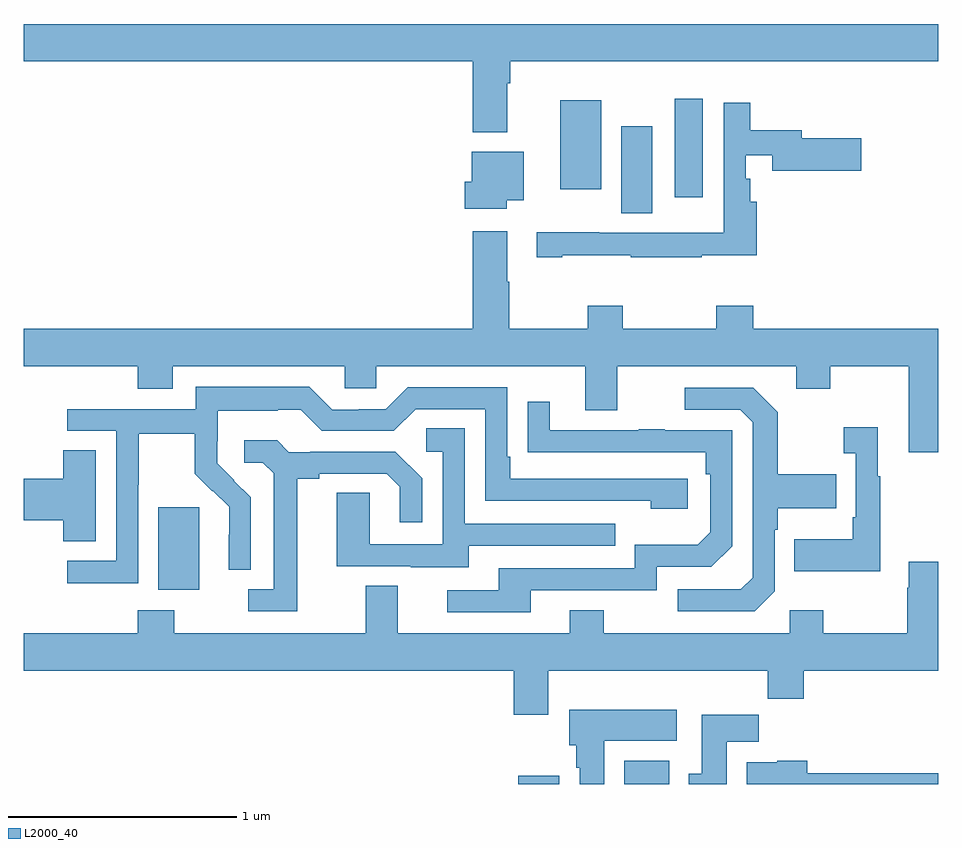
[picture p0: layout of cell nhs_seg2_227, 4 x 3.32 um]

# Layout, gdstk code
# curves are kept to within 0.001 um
import gdstk
lib = gdstk.Library(unit=1e-6, precision=1e-09)
def R(c, l, rs):  # rectangles x0, y0, x1, y1
    for r in rs: c.add(gdstk.rectangle(r[:2], r[2:], *l))
def P(c, l, *ps):  # polygons
    for p in ps: c.add(gdstk.Polygon(p, *l))
L2000_40 = (2000, 40)

nhs_seg2_227 = lib.new_cell('nhs_seg2_227')
R(nhs_seg2_227, L2000_40, [(123.164,653.8,123.343,653.836), (123.626,653.8,123.823,653.902), (121.589,654.65,121.768,655.011), (123.614,656.296,123.748,656.677), (123.848,656.367,123.97,656.797), (123.347,656.402,123.526,656.791)])
P(nhs_seg2_227, L2000_40, [(123.115,656.864),(123.128,656.864),(123.128,656.96),(125,656.96),(125,657.124),(121,657.124),(121,656.96),(122.963,656.96),(122.963,656.651),(123.115,656.651)],
  [(123.355,656.113),(123.655,656.113),(123.655,656.103),(123.965,656.103),(123.965,656.113),(124.205,656.113),(124.205,656.347),(124.178,656.347),(124.178,656.448),(124.158,656.448),(124.158,656.549),(124.274,656.549),(124.274,656.483),(124.663,656.483),(124.663,656.625),(124.402,656.625),(124.402,656.659),(124.178,656.659),(124.178,656.779),(124.062,656.779),(124.062,656.212),(123.852,656.212),(123.852,656.211),(123.518,656.211),(123.518,656.213),(123.243,656.213),(123.243,656.103),(123.355,656.103)],
  [(123.113,656.354),(123.187,656.354),(123.187,656.566),(122.96,656.566),(122.96,656.433),(122.93,656.433),(122.93,656.315),(123.113,656.315)],
  [(125,655.792),(124.19,655.792),(124.19,655.891),(124.03,655.891),(124.03,655.792),(123.621,655.792),(123.621,655.891),(123.466,655.891),(123.466,655.792),(123.123,655.792),(123.123,655.997),(123.115,655.997),(123.115,656.218),(122.963,656.218),(122.963,655.792),(121,655.792),(121,655.628),(121.499,655.628),(121.499,655.529),(121.651,655.529),(121.651,655.628),(122.403,655.628),(122.403,655.53),(122.541,655.53),(122.541,655.628),(123.455,655.628),(123.455,655.434),(123.595,655.434),(123.595,655.628),(124.379,655.628),(124.379,655.529),(124.527,655.529),(124.527,655.628),(124.871,655.628),(124.871,655.251),(125,655.251)],
  [(121.5,655.108),(121.503,655.108),(121.503,655.332),(121.747,655.332),(121.747,655.157),(121.824,655.08),(121.827,655.083),(121.898,655.013),(121.898,654.89),(121.896,654.89),(121.896,654.736),(121.992,654.736),(121.992,655.054),(121.846,655.202),(121.846,655.299),(121.848,655.299),(121.848,655.433),(122.111,655.433),(122.111,655.437),(122.211,655.437),(122.304,655.344),(122.619,655.344),(122.715,655.44),(123.018,655.44),(123.018,655.038),(123.743,655.038),(123.743,655.004),(123.904,655.004),(123.904,655.134),(123.127,655.134),(123.127,655.231),(123.114,655.231),(123.114,655.536),(122.679,655.536),(122.583,655.44),(122.465,655.44),(122.465,655.437),(122.349,655.437),(122.249,655.537),(121.752,655.537),(121.752,655.44),(121.191,655.44),(121.191,655.344),(121.404,655.344),(121.404,654.777),(121.191,654.777),(121.191,654.679),(121.5,654.679)],
  [(124.284,654.642),(124.284,654.911),(124.297,654.911),(124.297,655.007),(124.553,655.007),(124.553,655.155),(124.297,655.155),(124.297,655.427),(124.191,655.533),(123.891,655.533),(123.891,655.437),(124.134,655.437),(124.188,655.383),(124.188,654.702),(124.137,654.651),(123.861,654.651),(123.861,654.555),(124.197,654.555)],
  [(123.217,654.648),(123.768,654.648),(123.768,654.75),(124.008,654.75),(124.098,654.84),(124.098,655.347),(123.803,655.347),(123.803,655.352),(123.691,655.352),(123.691,655.347),(123.301,655.347),(123.301,655.471),(123.205,655.471),(123.205,655.252),(123.982,655.251),(123.982,655.154),(124.002,655.154),(124.002,654.9),(123.949,654.847),(123.672,654.847),(123.672,654.744),(123.077,654.744),(123.077,654.648),(122.853,654.648),(122.853,654.552),(123.217,654.552)],
  [(124.747,655.147),(124.735,655.147),(124.735,655.36),(124.587,655.36),(124.587,655.247),(124.638,655.247),(124.638,654.967),(124.626,654.967),(124.626,654.871),(124.369,654.871),(124.369,654.731),(124.747,654.731)],
  [(122.947,654.843),(123.587,654.843),(123.587,654.939),(122.928,654.939),(122.928,655.355),(122.76,655.355),(122.76,655.254),(122.832,655.254),(122.832,654.849),(122.514,654.849),(122.514,655.073),(122.369,655.073),(122.369,654.753),(122.693,654.753),(122.693,654.749),(122.947,654.749)],
  [(122.197,655.136),(122.293,655.136),(122.293,655.158),(122.588,655.158),(122.645,655.101),(122.645,654.945),(122.742,654.945),(122.742,655.138),(122.626,655.254),(122.254,655.254),(122.254,655.251),(122.16,655.251),(122.108,655.303),(121.965,655.303),(121.965,655.206),(122.046,655.206),(122.093,655.159),(122.093,654.651),(121.983,654.651),(121.983,654.555),(122.197,654.555)],
  [(121.315,655.259),(121.172,655.259),(121.172,655.136),(121,655.136),(121,654.953),(121.172,654.953),(121.172,654.862),(121.315,654.862)],
  [(123.295,654.296),(124.255,654.296),(124.255,654.172),(124.412,654.172),(124.412,654.296),(125,654.296),(125,654.772),(124.871,654.772),(124.871,654.659),(124.864,654.659),(124.864,654.46),(124.497,654.46),(124.497,654.559),(124.35,654.559),(124.35,654.46),(123.537,654.46),(123.537,654.559),(123.389,654.559),(123.389,654.46),(122.635,654.46),(122.635,654.668),(122.495,654.668),(122.495,654.46),(121.659,654.46),(121.659,654.559),(121.499,654.559),(121.499,654.46),(121,654.46),(121,654.296),(123.143,654.296),(123.143,654.102),(123.295,654.102)],
  [(123.538,653.99),(123.856,653.99),(123.856,654.124),(123.386,654.124),(123.386,653.97),(123.416,653.97),(123.416,653.87),(123.431,653.87),(123.431,653.8),(123.538,653.8)],
  [(124.075,653.984),(124.214,653.984),(124.214,654.103),(123.965,654.103),(123.965,653.844),(123.908,653.844),(123.908,653.8),(124.075,653.8)],
  [(125,653.848),(124.427,653.848),(124.427,653.902),(124.296,653.902),(124.296,653.896),(124.163,653.896),(124.163,653.8),(125,653.8)])

lib.write_gds('nhs_seg2_227.gds')
